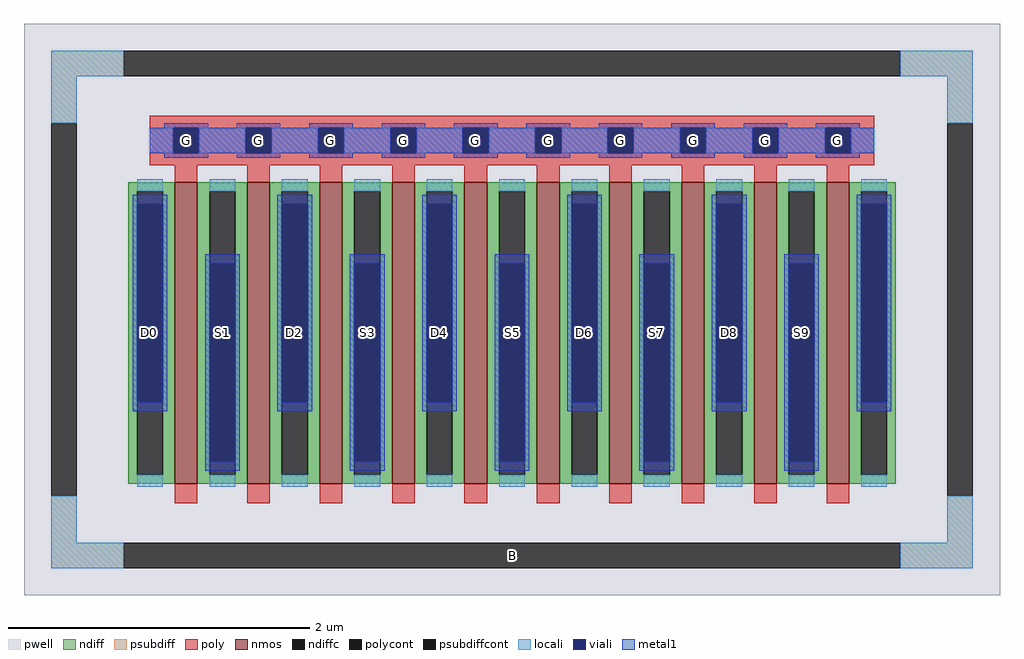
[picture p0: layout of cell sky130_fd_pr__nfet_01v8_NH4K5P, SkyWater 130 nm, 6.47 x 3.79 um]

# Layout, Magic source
magic
tech sky130A
magscale 1 2
<< pwell >>
rect -647 -379 647 379
<< nmos >>
rect -447 -231 -417 169
rect -351 -231 -321 169
rect -255 -231 -225 169
rect -159 -231 -129 169
rect -63 -231 -33 169
rect 33 -231 63 169
rect 129 -231 159 169
rect 225 -231 255 169
rect 321 -231 351 169
rect 417 -231 447 169
<< ndiff >>
rect -509 157 -447 169
rect -509 -219 -497 157
rect -463 -219 -447 157
rect -509 -231 -447 -219
rect -417 157 -351 169
rect -417 -219 -401 157
rect -367 -219 -351 157
rect -417 -231 -351 -219
rect -321 157 -255 169
rect -321 -219 -305 157
rect -271 -219 -255 157
rect -321 -231 -255 -219
rect -225 157 -159 169
rect -225 -219 -209 157
rect -175 -219 -159 157
rect -225 -231 -159 -219
rect -129 157 -63 169
rect -129 -219 -113 157
rect -79 -219 -63 157
rect -129 -231 -63 -219
rect -33 157 33 169
rect -33 -219 -17 157
rect 17 -219 33 157
rect -33 -231 33 -219
rect 63 157 129 169
rect 63 -219 79 157
rect 113 -219 129 157
rect 63 -231 129 -219
rect 159 157 225 169
rect 159 -219 175 157
rect 209 -219 225 157
rect 159 -231 225 -219
rect 255 157 321 169
rect 255 -219 271 157
rect 305 -219 321 157
rect 255 -231 321 -219
rect 351 157 417 169
rect 351 -219 367 157
rect 401 -219 417 157
rect 351 -231 417 -219
rect 447 157 509 169
rect 447 -219 463 157
rect 497 -219 509 157
rect 447 -231 509 -219
<< ndiffc >>
rect -497 -219 -463 157
rect -401 -219 -367 157
rect -305 -219 -271 157
rect -209 -219 -175 157
rect -113 -219 -79 157
rect -17 -219 17 157
rect 79 -219 113 157
rect 175 -219 209 157
rect 271 -219 305 157
rect 367 -219 401 157
rect 463 -219 497 157
<< psubdiff >>
rect -611 309 -515 343
rect 515 309 611 343
rect -611 247 -577 309
rect 577 247 611 309
rect -611 -309 -577 -247
rect 577 -309 611 -247
rect -611 -343 -515 -309
rect 515 -343 611 -309
<< psubdiffcont >>
rect -515 309 515 343
rect -611 -247 -577 247
rect 577 -247 611 247
rect -515 -343 515 -309
<< poly >>
rect -480 241 480 257
rect -480 207 -449 241
rect -415 207 -353 241
rect -319 207 -257 241
rect -223 207 -161 241
rect -127 207 -65 241
rect -31 207 31 241
rect 65 207 127 241
rect 161 207 223 241
rect 257 207 319 241
rect 353 207 415 241
rect 449 207 480 241
rect -480 191 480 207
rect -447 169 -417 191
rect -351 169 -321 191
rect -255 169 -225 191
rect -159 169 -129 191
rect -63 169 -33 191
rect 33 169 63 191
rect 129 169 159 191
rect 225 169 255 191
rect 321 169 351 191
rect 417 169 447 191
rect -447 -257 -417 -231
rect -351 -257 -321 -231
rect -255 -257 -225 -231
rect -159 -257 -129 -231
rect -63 -257 -33 -231
rect 33 -257 63 -231
rect 129 -257 159 -231
rect 225 -257 255 -231
rect 321 -257 351 -231
rect 417 -257 447 -231
<< polycont >>
rect -449 207 -415 241
rect -353 207 -319 241
rect -257 207 -223 241
rect -161 207 -127 241
rect -65 207 -31 241
rect 31 207 65 241
rect 127 207 161 241
rect 223 207 257 241
rect 319 207 353 241
rect 415 207 449 241
<< locali >>
rect -611 309 -515 343
rect 515 309 611 343
rect -611 247 -577 309
rect 577 247 611 309
rect -480 207 -449 241
rect -415 207 -353 241
rect -319 207 -257 241
rect -223 207 -161 241
rect -127 207 -65 241
rect -31 207 31 241
rect 65 207 127 241
rect 161 207 223 241
rect 257 207 319 241
rect 353 207 415 241
rect 449 207 480 241
rect -497 157 -463 173
rect -497 -235 -463 -219
rect -401 157 -367 173
rect -401 -235 -367 -219
rect -305 157 -271 173
rect -305 -235 -271 -219
rect -209 157 -175 173
rect -209 -235 -175 -219
rect -113 157 -79 173
rect -113 -235 -79 -219
rect -17 157 17 173
rect -17 -235 17 -219
rect 79 157 113 173
rect 79 -235 113 -219
rect 175 157 209 173
rect 175 -235 209 -219
rect 271 157 305 173
rect 271 -235 305 -219
rect 367 157 401 173
rect 367 -235 401 -219
rect 463 157 497 173
rect 463 -235 497 -219
rect -611 -309 -577 -247
rect 577 -309 611 -247
rect -611 -343 -515 -309
rect 515 -343 611 -309
<< viali >>
rect -449 207 -415 241
rect -353 207 -319 241
rect -257 207 -223 241
rect -161 207 -127 241
rect -65 207 -31 241
rect 31 207 65 241
rect 127 207 161 241
rect 223 207 257 241
rect 319 207 353 241
rect 415 207 449 241
rect -497 -123 -463 140
rect -401 -202 -367 61
rect -305 -123 -271 140
rect -209 -202 -175 61
rect -113 -123 -79 140
rect -17 -202 17 61
rect 79 -123 113 140
rect 175 -202 209 61
rect 271 -123 305 140
rect 367 -202 401 61
rect 463 -123 497 140
<< metal1 >>
rect -461 241 -403 247
rect -365 241 -307 247
rect -269 241 -211 247
rect -173 241 -115 247
rect -77 241 -19 247
rect 19 241 77 247
rect 115 241 173 247
rect 211 241 269 247
rect 307 241 365 247
rect 403 241 461 247
rect -480 207 -449 241
rect -415 207 -353 241
rect -319 207 -257 241
rect -223 207 -161 241
rect -127 207 -65 241
rect -31 207 31 241
rect 65 207 127 241
rect 161 207 223 241
rect 257 207 319 241
rect 353 207 415 241
rect 449 207 480 241
rect -461 201 -403 207
rect -365 201 -307 207
rect -269 201 -211 207
rect -173 201 -115 207
rect -77 201 -19 207
rect 19 201 77 207
rect 115 201 173 207
rect 211 201 269 207
rect 307 201 365 207
rect 403 201 461 207
rect -503 140 -457 152
rect -503 -123 -497 140
rect -463 -123 -457 140
rect -311 140 -265 152
rect -503 -135 -457 -123
rect -407 61 -361 73
rect -407 -202 -401 61
rect -367 -202 -361 61
rect -311 -123 -305 140
rect -271 -123 -265 140
rect -119 140 -73 152
rect -311 -135 -265 -123
rect -215 61 -169 73
rect -407 -214 -361 -202
rect -215 -202 -209 61
rect -175 -202 -169 61
rect -119 -123 -113 140
rect -79 -123 -73 140
rect 73 140 119 152
rect -119 -135 -73 -123
rect -23 61 23 73
rect -215 -214 -169 -202
rect -23 -202 -17 61
rect 17 -202 23 61
rect 73 -123 79 140
rect 113 -123 119 140
rect 265 140 311 152
rect 73 -135 119 -123
rect 169 61 215 73
rect -23 -214 23 -202
rect 169 -202 175 61
rect 209 -202 215 61
rect 265 -123 271 140
rect 305 -123 311 140
rect 457 140 503 152
rect 265 -135 311 -123
rect 361 61 407 73
rect 169 -214 215 -202
rect 361 -202 367 61
rect 401 -202 407 61
rect 457 -123 463 140
rect 497 -123 503 140
rect 457 -135 503 -123
rect 361 -214 407 -202
<< labels >>
rlabel psubdiffcont 0 -326 0 -326 0 B
port 1 nsew
rlabel ndiffc -480 -31 -480 -31 0 D0
port 2 nsew
rlabel polycont -432 224 -432 224 0 G
port 3 nsew
rlabel ndiffc -384 -31 -384 -31 0 S1
port 4 nsew
rlabel polycont -336 224 -336 224 0 G
port 3 nsew
rlabel ndiffc -288 -31 -288 -31 0 D2
port 5 nsew
rlabel polycont -240 224 -240 224 0 G
port 3 nsew
rlabel ndiffc -192 -31 -192 -31 0 S3
port 6 nsew
rlabel polycont -144 224 -144 224 0 G
port 3 nsew
rlabel ndiffc -96 -31 -96 -31 0 D4
port 7 nsew
rlabel polycont -48 224 -48 224 0 G
port 3 nsew
rlabel ndiffc 0 -31 0 -31 0 S5
port 8 nsew
rlabel polycont 48 224 48 224 0 G
port 3 nsew
rlabel ndiffc 96 -31 96 -31 0 D6
port 9 nsew
rlabel polycont 144 224 144 224 0 G
port 3 nsew
rlabel ndiffc 192 -31 192 -31 0 S7
port 10 nsew
rlabel polycont 240 224 240 224 0 G
port 3 nsew
rlabel ndiffc 288 -31 288 -31 0 D8
port 11 nsew
rlabel polycont 336 224 336 224 0 G
port 3 nsew
rlabel ndiffc 384 -31 384 -31 0 S9
port 12 nsew
rlabel polycont 432 224 432 224 0 G
port 3 nsew
<< properties >>
string FIXED_BBOX -594 -326 594 326
string gencell sky130_fd_pr__nfet_01v8
string library sky130
string parameters w 2 l .15 m 1 nf 10 diffcov 100 polycov 100 guard 1 glc 1 grc 1 gtc 1 gbc 1 tbcov 100 rlcov 100 topc 1 botc 0 poverlap 0 doverlap 1 lmin 0.15 wmin 0.42 class mosfet compatible {sky130_fd_pr__nfet_01v8 sky130_fd_pr__nfet_01v8_lvt  sky130_fd_bs_flash__special_sonosfet_star  sky130_fd_pr__nfet_g5v0d10v5 sky130_fd_pr__nfet_05v0_nvt  sky130_fd_pr__nfet_03v3_nvt} full_metal 1 conn_gates 1 viasrc +70 viadrn -70 viagate 100 viagb 0 viagr 0 viagl 0 viagt 0 doports 1
<< end >>
